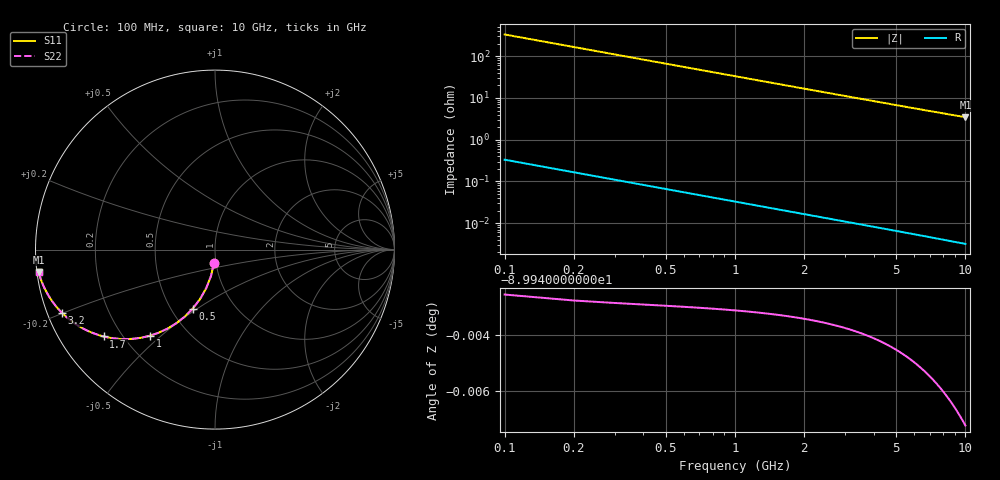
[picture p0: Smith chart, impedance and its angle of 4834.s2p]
# Hz S RI R 50.00
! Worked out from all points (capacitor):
!   100 points, 100 MHz to 10 GHz, reference 50 ohm
!   read as one part in shunt: C = 4.8 pF near 100 MHz
!   lowest |Z| = 3.46 ohm at 10 GHz (marker M1)
!   S11 on the Smith chart (normalised r, x): 100 MHz: 0.98, -0.15; 500 MHz: 0.64, -0.48; 1 GHz: 0.31, -0.46; 1.7 GHz: 0.13, -0.34; 3.2 GHz: 0.04, -0.20; 10 GHz: 0.00, -0.06
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1e8  -0.00572 -0.0749  0.9943 -0.075  0.9943 -0.075  -0.00572 -0.0749
2e8  -0.0224 -0.1474  0.9776 -0.1476  0.9776 -0.1476  -0.0224 -0.1474
3e8  -0.0489 -0.215  0.9511 -0.2153  0.9511 -0.2153  -0.0489 -0.215
4e8  -0.0836 -0.2761  0.9164 -0.2765  0.9164 -0.2765  -0.0836 -0.2761
5e8  -0.1246 -0.3296  0.8753 -0.3301  0.8753 -0.3301  -0.1246 -0.3296
6e8  -0.17 -0.3749  0.83 -0.3755  0.83 -0.3755  -0.17 -0.3749
7e8  -0.2179 -0.412  0.7821 -0.4127  0.7821 -0.4127  -0.2179 -0.412
8e8  -0.2666 -0.4413  0.7333 -0.4421  0.7333 -0.4421  -0.2666 -0.4413
1e9  -0.3619 -0.4796  0.638 -0.4806  0.638 -0.4806  -0.3619 -0.4796
1.3e9  -0.4889 -0.4987  0.5111 -0.5  0.5111 -0.5  -0.4889 -0.4987
1.7e9  -0.62 -0.484  0.38 -0.4858  0.38 -0.4858  -0.62 -0.484
1.8e9  -0.6464 -0.4767  0.3536 -0.4785  0.3536 -0.4785  -0.6464 -0.4767
2.1e9  -0.7129 -0.4508  0.2871 -0.453  0.2871 -0.453  -0.7129 -0.4508
2.4e9  -0.764 -0.4228  0.2359 -0.4253  0.2359 -0.4253  -0.764 -0.4228
2.8e9  -0.8148 -0.3865  0.1852 -0.3894  0.1852 -0.3894  -0.8148 -0.3865
3.2e9  -0.8515 -0.3534  0.1485 -0.3567  0.1485 -0.3567  -0.8515 -0.3534
3.4e9  -0.8661 -0.3383  0.1339 -0.3418  0.1339 -0.3418  -0.8661 -0.3383
4.2e9  -0.9078 -0.2866  0.0922 -0.291  0.0922 -0.291  -0.9078 -0.2866
5.1e9  -0.9354 -0.2426  0.0645 -0.2479  0.0645 -0.2479  -0.9354 -0.2426
6.7e9  -0.9615 -0.1883  0.0385 -0.1954  0.0385 -0.1954  -0.9615 -0.1883
8.4e9  -0.9752 -0.1504  0.0248 -0.1594  0.0248 -0.1594  -0.9752 -0.1504
1e10  -0.9824 -0.1254  0.0175 -0.1362  0.0175 -0.1362  -0.9824 -0.1254
